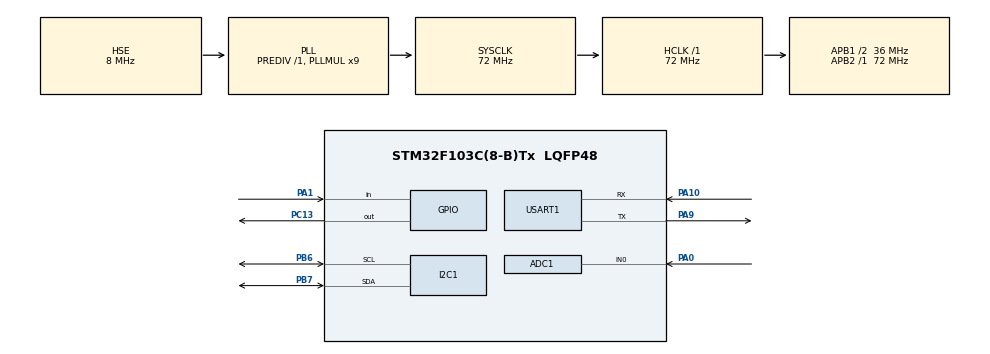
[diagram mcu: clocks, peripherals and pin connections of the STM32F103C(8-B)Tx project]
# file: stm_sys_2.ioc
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ADC1.Channel-0\#ChannelRegularConversion=ADC_CHANNEL_0
ADC1.NbrOfConversionFlag=1
ADC1.Rank-0\#ChannelRegularConversion=1
ADC1.SamplingTime-0\#ChannelRegularConversion=ADC_SAMPLETIME_1CYCLE_5
ADC1.master=1
Dma.Request0=USART1_TX
Dma.USART1_TX.0.Direction=DMA_MEMORY_TO_PERIPH
Dma.USART1_TX.0.Instance=DMA1_Channel4
Dma.USART1_TX.0.MemDataAlignment=DMA_MDATAALIGN_BYTE
Dma.USART1_TX.0.MemInc=DMA_MINC_ENABLE
Dma.USART1_TX.0.Mode=DMA_NORMAL
Dma.USART1_TX.0.PeriphDataAlignment=DMA_PDATAALIGN_BYTE
Dma.USART1_TX.0.PeriphInc=DMA_PINC_DISABLE
Dma.USART1_TX.0.Priority=DMA_PRIORITY_LOW
FREERTOS.Tasks01=defaultTask,24,128,StartDefaultTask,Default,NULL,Dynamic,NULL,NULL
I2C1.I2C_Mode=I2C_Fast
Mcu.Family=STM32F1
Mcu.Name=STM32F103C(8-B)Tx
Mcu.Package=LQFP48
NVIC.DMA1_Channel4_IRQn=true\:5\:0\:false\:false\:true\:true\:false\:true\:true
NVIC.PriorityGroup=NVIC_PRIORITYGROUP_4
NVIC.USART1_IRQn=true\:5\:0\:false\:false\:true\:true\:true\:true\:true
PA0-WKUP.Signal=ADCx_IN0
PA1.Signal=GPIO_Input
PA10.Mode=Asynchronous
PA10.Signal=USART1_RX
PA13.Mode=Serial_Wire
PA13.Signal=SYS_JTMS-SWDIO
PA14.Mode=Serial_Wire
PA14.Signal=SYS_JTCK-SWCLK
PA9.Mode=Asynchronous
PA9.Signal=USART1_TX
PB6.Mode=I2C
PB6.Signal=I2C1_SCL
PB7.Mode=I2C
PB7.Signal=I2C1_SDA
PC13-TAMPER-RTC.Signal=GPIO_Output
PD0-OSC_IN.Mode=HSE-External-Oscillator
PD0-OSC_IN.Signal=RCC_OSC_IN
PD1-OSC_OUT.Mode=HSE-External-Oscillator
PD1-OSC_OUT.Signal=RCC_OSC_OUT
ProjectManager.HeapSize=0x200
ProjectManager.StackSize=0x400
ProjectManager.TargetToolchain=STM32CubeIDE
RCC.ADCPresc=RCC_ADCPCLK2_DIV6
RCC.AHBFreq_Value=72000000
RCC.APB1CLKDivider=RCC_HCLK_DIV2
RCC.APB1Freq_Value=36000000
RCC.APB1TimFreq_Value=72000000
RCC.APB2Freq_Value=72000000
RCC.APB2TimFreq_Value=72000000
RCC.HCLKFreq_Value=72000000
RCC.PLLMUL=RCC_PLL_MUL9
RCC.PLLSourceVirtual=RCC_PLLSOURCE_HSE
RCC.SYSCLKFreq_VALUE=72000000
RCC.SYSCLKSource=RCC_SYSCLKSOURCE_PLLCLK
RCC.USBFreq_Value=72000000
SH.ADCx_IN0.0=ADC1_IN0,IN0
USART1.VirtualMode=VM_ASYNC
VP_FREERTOS_VS_CMSIS_V2.Mode=CMSIS_V2
board=custom

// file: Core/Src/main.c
/* USER CODE BEGIN Header */
/**
  ******************************************************************************
  * @file           : main.c
  * @brief          : Main program body
  ******************************************************************************
  * @attention
  *
  * Copyright (c) 2026 STMicroelectronics.
  * All rights reserved.
  *
  * This software is licensed under terms that can be found in the LICENSE file
  * in the root directory of this software component.
  * If no LICENSE file comes with this software, it is provided AS-IS.
  *
  ******************************************************************************
  */
/* USER CODE END Header */
#include "main.h"
#include "cmsis_os.h"

/* USER CODE BEGIN Includes */
#include "dht11.h"
#include "ina260.h"
#include "leak_sensor.h"
#include "string.h"
#include "stddef.h"
#include "stdbool.h"
#include "stdlib.h"
#include "stdio.h"

helkkkksdfj skadf klkl;sf

/* USER CODE END Includes */

/* USER CODE BEGIN PTD */

#pragma pack(push, 1)
typedef struct {

	uint8_t header; //0xAA

	float temperature; // DHT11
	float humdity;
	float dhtvalid;

	float voltage;		// INA260
	float current;
	float power;
	uint8_t inaValid;

	uint16_t leakRaw;		// LEAK SENSOR
	uint8_t leak_Detected;
	uint8_t leakValid;

	uint32_t seqNumber;
	uint8_t checksum;
	uint8_t footer; // 0xBB

}TelemetryPacket_t;
#pragma pack(pop)

/* USER CODE END PTD */

/* USER CODE BEGIN PD */

#define DHT11_PERIOD_MS 1000  //1 sec
#define INA260_PERIOD_MS 200
#define LEAK_PERIO_MS 100
#define UART_PERIOD_MS 500

#define TELEMETRY_HEADER_BYTE 0XAA
#define TELEMETERY_FOOTER_BYTE 0X55

static osThreadId_t dht11TaskHandle;
static osThreadId_t ina260TaskHandle;
static osThreadId_t leakTaskHandle;
static osThreadId_t uartaskHandle;

/* USER CODE END PD */

ADC_HandleTypeDef hadc1;

I2C_HandleTypeDef hi2c1;

UART_HandleTypeDef huart1;
DMA_HandleTypeDef hdma_usart1_tx;

/* Definitions for defaultTask */
osThreadId_t defaultTaskHandle;
const osThreadAttr_t defaultTask_attributes = {
  .name = "defaultTask",
  .stack_size = 128 * 4,
  .priority = (osPriority_t) osPriorityNormal,
};
/* USER CODE BEGIN PV */
static osSemaphoreId_t s_txDonesem;
static osMutexId_t g_dhtMutex;
static osMutexId_t g_inaMutex;
static osMutexId_t g_leakMutex;
/* USER CODE END PV */

void SystemClock_Config(void);
static void MX_GPIO_Init(void);
static void MX_DMA_Init(void);
static void MX_ADC1_Init(void);
static void MX_I2C1_Init(void);
static void MX_USART1_UART_Init(void);
void StartDefaultTask(void *argument);

/* USER CODE BEGIN PFP */

static void DHT11Task(void *argument);
static void INA260Task(void * argument);
static void LeakTask(void *argument);
static void UartTask(void *argument);
static void App_CreateTaskAndSync(void);
static uint8_t Telemetery_Checksum (const uint8_t *buf, uint32_t len);
static void Telemetery_BuildPacket(TelemetryPacket_t *pkt);

volatile DHT11_Data_t g_dhtdata_t  = {0};
volatile INA260_Data_t g_inadata_t = {0};
volatile Leak_Data_t g_leakdata_t = {0};

static uint32_t s_seq =  0;

/* USER CODE END PFP */

int main(void)
{

  /* MCU Configuration--------------------------------------------------------*/

  /* Reset of all peripherals, Initializes the Flash interface and the Systick. */
  HAL_Init();

  /* Configure the system clock */
  SystemClock_Config();

  /* Initialize all configured peripherals */
  MX_GPIO_Init();
  MX_DMA_Init();
  MX_ADC1_Init();
  MX_I2C1_Init();
  MX_USART1_UART_Init();
  /* USER CODE BEGIN 2 */
  INA260_Init(&hi2c1);
  DWT_Delay_Init();
  LeakSensor_Init(&hadc1);
  App_CreateTaskAndSync();

  /* USER CODE END 2 */

  /* Init scheduler */
  osKernelInitialize();

  /* Create the thread(s) */
  /* creation of defaultTask */
  defaultTaskHandle = osThreadNew(StartDefaultTask, NULL, &defaultTask_attributes);

  /* Start scheduler */
  osKernelStart();

  /* We should never get here as control is now taken by the scheduler */

  /* Infinite loop */
  while (1)
  {

  }
}

void SystemClock_Config(void)
{
  RCC_OscInitTypeDef RCC_OscInitStruct = {0};
  RCC_ClkInitTypeDef RCC_ClkInitStruct = {0};
  RCC_PeriphCLKInitTypeDef PeriphClkInit = {0};

  /** Initializes the RCC Oscillators according to the specified parameters
  * in the RCC_OscInitTypeDef structure.
  */
  RCC_OscInitStruct.OscillatorType = RCC_OSCILLATORTYPE_HSE;
  RCC_OscInitStruct.HSEState = RCC_HSE_ON;
  RCC_OscInitStruct.HSEPredivValue = RCC_HSE_PREDIV_DIV1;
  RCC_OscInitStruct.HSIState = RCC_HSI_ON;
  RCC_OscInitStruct.PLL.PLLState = RCC_PLL_ON;
  RCC_OscInitStruct.PLL.PLLSource = RCC_PLLSOURCE_HSE;
  RCC_OscInitStruct.PLL.PLLMUL = RCC_PLL_MUL9;
  if (HAL_RCC_OscConfig(&RCC_OscInitStruct) != HAL_OK)
  {
    Error_Handler();
  }

  /** Initializes the CPU, AHB and APB buses clocks
  */
  RCC_ClkInitStruct.ClockType = RCC_CLOCKTYPE_HCLK|RCC_CLOCKTYPE_SYSCLK
                              |RCC_CLOCKTYPE_PCLK1|RCC_CLOCKTYPE_PCLK2;
  RCC_ClkInitStruct.SYSCLKSource = RCC_SYSCLKSOURCE_PLLCLK;
  RCC_ClkInitStruct.AHBCLKDivider = RCC_SYSCLK_DIV1;
  RCC_ClkInitStruct.APB1CLKDivider = RCC_HCLK_DIV2;
  RCC_ClkInitStruct.APB2CLKDivider = RCC_HCLK_DIV1;

  if (HAL_RCC_ClockConfig(&RCC_ClkInitStruct, FLASH_LATENCY_2) != HAL_OK)
  {
    Error_Handler();
  }
  PeriphClkInit.PeriphClockSelection = RCC_PERIPHCLK_ADC;
  PeriphClkInit.AdcClockSelection = RCC_ADCPCLK2_DIV6;
  if (HAL_RCCEx_PeriphCLKConfig(&PeriphClkInit) != HAL_OK)
  {
    Error_Handler();
  }
}

static void MX_ADC1_Init(void)
{

  ADC_ChannelConfTypeDef sConfig = {0};

  /** Common config
  */
  hadc1.Instance = ADC1;
  hadc1.Init.ScanConvMode = ADC_SCAN_DISABLE;
  hadc1.Init.ContinuousConvMode = DISABLE;
  hadc1.Init.DiscontinuousConvMode = DISABLE;
  hadc1.Init.ExternalTrigConv = ADC_SOFTWARE_START;
  hadc1.Init.DataAlign = ADC_DATAALIGN_RIGHT;
  hadc1.Init.NbrOfConversion = 1;
  if (HAL_ADC_Init(&hadc1) != HAL_OK)
  {
    Error_Handler();
  }

  /** Configure Regular Channel
  */
  sConfig.Channel = ADC_CHANNEL_0;
  sConfig.Rank = ADC_REGULAR_RANK_1;
  sConfig.SamplingTime = ADC_SAMPLETIME_1CYCLE_5;
  if (HAL_ADC_ConfigChannel(&hadc1, &sConfig) != HAL_OK)
  {
    Error_Handler();
  }

}

static void MX_I2C1_Init(void)
{

  hi2c1.Instance = I2C1;
  hi2c1.Init.ClockSpeed = 400000;
  hi2c1.Init.DutyCycle = I2C_DUTYCYCLE_2;
  hi2c1.Init.OwnAddress1 = 0;
  hi2c1.Init.AddressingMode = I2C_ADDRESSINGMODE_7BIT;
  hi2c1.Init.DualAddressMode = I2C_DUALADDRESS_DISABLE;
  hi2c1.Init.OwnAddress2 = 0;
  hi2c1.Init.GeneralCallMode = I2C_GENERALCALL_DISABLE;
  hi2c1.Init.NoStretchMode = I2C_NOSTRETCH_DISABLE;
  if (HAL_I2C_Init(&hi2c1) != HAL_OK)
  {
    Error_Handler();
  }

}

static void MX_USART1_UART_Init(void)
{

  huart1.Instance = USART1;
  huart1.Init.BaudRate = 115200;
  huart1.Init.WordLength = UART_WORDLENGTH_8B;
  huart1.Init.StopBits = UART_STOPBITS_1;
  huart1.Init.Parity = UART_PARITY_NONE;
  huart1.Init.Mode = UART_MODE_TX_RX;
  huart1.Init.HwFlowCtl = UART_HWCONTROL_NONE;
  huart1.Init.OverSampling = UART_OVERSAMPLING_16;
  if (HAL_UART_Init(&huart1) != HAL_OK)
  {
    Error_Handler();
  }

}

static void MX_DMA_Init(void)
{

  /* DMA controller clock enable */
  __HAL_RCC_DMA1_CLK_ENABLE();

  /* DMA interrupt init */
  /* DMA1_Channel4_IRQn interrupt configuration */
  HAL_NVIC_SetPriority(DMA1_Channel4_IRQn, 5, 0);
  HAL_NVIC_EnableIRQ(DMA1_Channel4_IRQn);

}

static void MX_GPIO_Init(void)
{
  GPIO_InitTypeDef GPIO_InitStruct = {0};

  /* GPIO Ports Clock Enable */
  __HAL_RCC_GPIOC_CLK_ENABLE();
  __HAL_RCC_GPIOD_CLK_ENABLE();
  __HAL_RCC_GPIOA_CLK_ENABLE();
  __HAL_RCC_GPIOB_CLK_ENABLE();

  /*Configure GPIO pin Output Level */
  HAL_GPIO_WritePin(GPIOC, GPIO_PIN_13, GPIO_PIN_RESET);

  /*Configure GPIO pin : PC13 */
  GPIO_InitStruct.Pin = GPIO_PIN_13;
  GPIO_InitStruct.Mode = GPIO_MODE_OUTPUT_PP;
  GPIO_InitStruct.Pull = GPIO_NOPULL;
  GPIO_InitStruct.Speed = GPIO_SPEED_FREQ_LOW;
  HAL_GPIO_Init(GPIOC, &GPIO_InitStruct);

  /*Configure GPIO pin : PA1 */
  GPIO_InitStruct.Pin = GPIO_PIN_1;
  GPIO_InitStruct.Mode = GPIO_MODE_INPUT;
  GPIO_InitStruct.Pull = GPIO_NOPULL;
  HAL_GPIO_Init(GPIOA, &GPIO_InitStruct);

}

/* USER CODE BEGIN 4 */
static void DHT11Task(void *argument){

	(void) argument;
	DHT11_Data_t local = {0};
	while(1)
	{

		DHT11_Read(&local);
		osMutexAcquire(g_dhtMutex, osWaitForever);
		g_dhtdata_t.temperature =  local.temperature;
		g_dhtdata_t.humidity = local.humidity;
		g_dhtdata_t.valid =  local.valid;
		osMutexRelease(g_dhtMutex);
		osDelay(pdMS_TO_TICKS(DHT11_PERIOD_MS));

	}

}
static void INA260Task(void * argument){

	(void) argument;
	INA260_Init(&hi2c1);
	INA260_Data_t local =  {0};

	while(1)
	{
		INA260_Read(&local);
		osMutexAcquire(g_inaMutex, osWaitForever);
		g_inadata_t.current_A =  local.current_A;
		g_inadata_t.voltage_V = local.voltage_V;
		g_inadata_t.valid =  local.valid;
		g_inadata_t.errorCount =  local.errorCount;
		osMutexRelease(g_inaMutex);
		osDelay(pdMS_TO_TICKS(INA260_PERIOD_MS));

	}

}
static void LeakTask(void *argument){

	(void)argument;

	LeakSensor_Init(&hadc1);
	Leak_Data_t  local = {0};
	while (1)
	{
		LeakSensor_Read(&local);
		osMutexAcquire(leakTaskHandle, osWaitForever);
		g_leakdata_t.errorCount =  local.errorCount;
		g_leakdata_t.leakDetected = local.leakDetected;
		g_leakdata_t.raw =  local.raw;
		g_leakdata_t.valid = local.valid;
		g_leakdata_t.voltage =  local.voltage;
		osMutexRelease(g_leakMutex);
		osDelay(pdMS_TO_TICKS(LEAK_PERIO_MS));
	}
}
static void UartTask(void *argument){

	(void) argument;
	TelemetryPacket_t pkt;

	 while (1)
	    {
	Telemetery_BuildPacket(&pkt);
	osSemaphoreAcquire(s_txDonesem, osWaitForever);
	HAL_UART_Transmit_DMA(&huart1, (uint8_t *)&pkt, sizeof(pkt));
	osSemaphoreRelease(s_txDonesem);
	osDelay(pdMS_TO_TICKS(UART_PERIOD_MS));

	    }
}

void HAL_UART_TxCpltCallback(UART_HandleTypeDef *huart1)
{
	if (huart1->Instance ==  USART1)
	{
		osSemaphoreRelease(s_txDonesem);

	}
}

static void App_CreateTaskAndSync(void){

	g_dhtMutex =  osMutexNew(NULL);
	g_inaMutex =  osMutexNew(NULL);
	g_leakMutex = osMutexNew(NULL);

	s_txDonesem =  osSemaphoreNew(1, 1, NULL);

	const osThreadAttr_t dhtAttr = {.name = "DHT_TASK", .priority = osPriorityNormal,.stack_size =  256 * 4 };
    const osThreadAttr_t inaAttr  = { .name = "INA260_Task",  .priority = osPriorityNormal,      .stack_size = 256 * 4 };
    const osThreadAttr_t leakAttr  = { .name = "Leak_Task",  .priority = osPriorityNormal,      .stack_size = 256 * 4 };
    const osThreadAttr_t uart_Attr  = { .name = "Uart_task",  .priority = osPriorityAboveNormal,      .stack_size = 256 * 4 };

	dht11TaskHandle = osThreadNew(DHT11Task, NULL, &dhtAttr);
	ina260TaskHandle = osThreadNew(INA260Task, NULL, &inaAttr);
	leakTaskHandle =  osThreadNew(LeakTask, NULL, &leakAttr);
	uartaskHandle =  osThreadNew(UartTask, NULL, &uart_Attr);
}

static uint8_t Telemetery_Checksum (const uint8_t *buf, uint32_t len){

	uint8_t x = 0;
	for (uint8_t i = 0 ; i < len ; i++)
	{
		x ^= buf[i];

	}
	return x;

}
static void Telemetery_BuildPacket(TelemetryPacket_t *pkt){

	DHT11_Data_t dhtsnap;
	INA260_Data_t inasnap;
	Leak_Data_t leaksnap;

	osMutexAcquire(g_dhtMutex, osWaitForever);
	dhtsnap.temperature =  g_dhtdata_t.temperature;
	dhtsnap.humidity =  g_dhtdata_t.humidity;
	dhtsnap.valid =  g_dhtdata_t.valid;
	dhtsnap.errorCount =  g_dhtdata_t.errorCount;
	osMutexRelease(dht11TaskHandle);

	osMutexAcquire(ina260TaskHandle, osWaitForever);
	inasnap.current_A =  g_inadata_t.current_A;
	inasnap.errorCount = g_inadata_t.errorCount;
	inasnap.power_W = g_inadata_t.power_W;
	inasnap.valid =  g_inadata_t.valid;
	inasnap.voltage_V =  g_inadata_t.voltage_V;
	osMutexRelease(ina260TaskHandle);

	osMutexAcquire(leakTaskHandle, osWaitForever);
	leaksnap.errorCount = g_leakdata_t.errorCount;
	leaksnap.leakDetected = g_leakdata_t.leakDetected;
	leaksnap.raw = g_leakdata_t.raw;
	leaksnap.valid =  g_inadata_t.valid;
	leaksnap.voltage =  g_leakdata_t.voltage;
	osMutexRelease(leakTaskHandle);

	pkt->header = TELEMETRY_HEADER_BYTE;
	pkt->temperature =  dhtsnap.temperature;
	pkt->humdity =  dhtsnap.humidity;
	pkt->dhtvalid = dhtsnap.valid;
	pkt->voltage =  inasnap.voltage_V;
	pkt->current =  inasnap.current_A;
	pkt->power =  inasnap.power_W;
	pkt->inaValid = inasnap.valid;
	pkt->leakRaw = leaksnap.raw;
	pkt->leak_Detected =  leaksnap.leakDetected;
	pkt->leakValid =  leaksnap.valid;
	pkt->seqNumber = s_seq++;

	uint32_t coveredLen = offsetof(TelemetryPacket_t, checksum);
	pkt->checksum =  Telemetery_Checksum((const uint8_t *)pkt, coveredLen);
	pkt->footer =  TELEMETERY_FOOTER_BYTE;

}

/* USER CODE END 4 */

void StartDefaultTask(void *argument)
{
  for(;;)
  {
    osDelay(1);
  }
}

void Error_Handler(void)
{
  __disable_irq();
  while (1)
  {
  }
}
